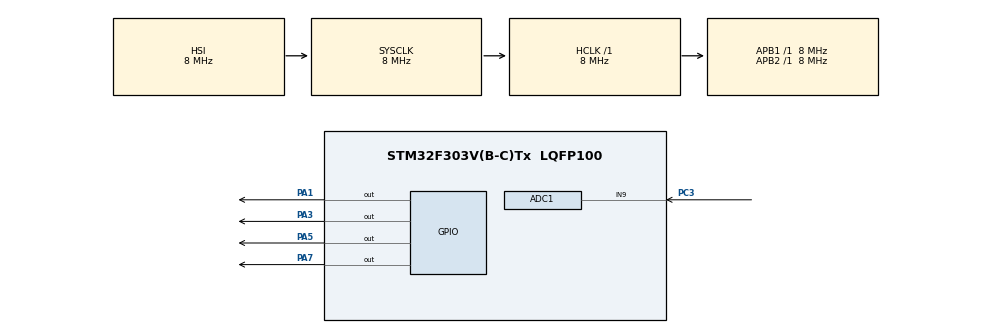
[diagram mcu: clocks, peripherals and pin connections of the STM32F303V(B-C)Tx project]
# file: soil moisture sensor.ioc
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ADC1.Channel-0\#ChannelRegularConversion=ADC_CHANNEL_9
ADC1.ContinuousConvMode=ENABLE
ADC1.NbrOfConversionFlag=1
ADC1.Offset-0\#ChannelRegularConversion=0
ADC1.OffsetNumber-0\#ChannelRegularConversion=ADC_OFFSET_NONE
ADC1.Rank-0\#ChannelRegularConversion=1
ADC1.SamplingTime-0\#ChannelRegularConversion=ADC_SAMPLETIME_1CYCLE_5
ADC1.SamplingTimeOPAMP-0\#ChannelRegularConversion=ADC_SAMPLETIME_4CYCLES_5
ADC1.master=1
Mcu.Family=STM32F3
Mcu.Name=STM32F303V(B-C)Tx
Mcu.Package=LQFP100
NVIC.PriorityGroup=NVIC_PRIORITYGROUP_4
PA1.Signal=GPIO_Output
PA13.Mode=Serial_Wire
PA13.Signal=SYS_JTMS-SWDIO
PA14.Mode=Serial_Wire
PA14.Signal=SYS_JTCK-SWCLK
PA3.Signal=GPIO_Output
PA5.Signal=GPIO_Output
PA7.Signal=GPIO_Output
PC3.Signal=ADCx_IN9
ProjectManager.HeapSize=0x200
ProjectManager.StackSize=0x400
ProjectManager.TargetToolchain=STM32CubeIDE
RCC.AHBFreq_Value=8000000
RCC.APB1Freq_Value=8000000
RCC.APB2Freq_Value=8000000
RCC.CortexFreq_Value=8000000
RCC.HSE_VALUE=8000000
RCC.HSI_VALUE=8000000
RCC.LSE_VALUE=32768
RCC.SYSCLKFreq_VALUE=8000000
SH.ADCx_IN9.0=ADC1_IN9,IN9-Single-Ended
board=custom

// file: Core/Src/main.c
/* USER CODE BEGIN Header */
/**
  ******************************************************************************
  * @file           : main.c
  * @brief          : Main program body
  ******************************************************************************
  * @attention
  *
  * Copyright (c) 2024 STMicroelectronics.
  * All rights reserved.
  *
  * This software is licensed under terms that can be found in the LICENSE file
  * in the root directory of this software component.
  * If no LICENSE file comes with this software, it is provided AS-IS.
  *
  ******************************************************************************
  */
/* USER CODE END Header */
#include "main.h"

ADC_HandleTypeDef hadc1;

/* USER CODE BEGIN PV */

uint16_t readValue;

/* USER CODE END PV */

void SystemClock_Config(void);
static void MX_GPIO_Init(void);
static void MX_ADC1_Init(void);

int main(void)
{

  /* MCU Configuration--------------------------------------------------------*/

  /* Reset of all peripherals, Initializes the Flash interface and the Systick. */
  HAL_Init();

  /* Configure the system clock */
  SystemClock_Config();

  /* Initialize all configured peripherals */
  MX_GPIO_Init();
  MX_ADC1_Init();
  /* USER CODE BEGIN 2 */

  HAL_ADC_Start(&hadc1);

  /* USER CODE END 2 */

  /* Infinite loop */
  /* USER CODE BEGIN WHILE */
  while (1)
  {
	  HAL_GPIO_WritePin(GPIOA, GPIO_PIN_7, 1);
	     HAL_Delay(20);
	     HAL_ADC_PollForConversion(&hadc1,1000);
	     readValue = HAL_ADC_GetValue(&hadc1);
	     HAL_GPIO_WritePin(GPIOA, GPIO_PIN_7, 0);
	     if (readValue > 3200)
	     {
	       HAL_GPIO_WritePin(GPIOA, GPIO_PIN_5, 1);
	       HAL_GPIO_WritePin(GPIOA, GPIO_PIN_3, 0);
	       HAL_GPIO_WritePin(GPIOA, GPIO_PIN_1, 0);
	     }
	     else if (readValue > 2700 )
	     {
	       HAL_GPIO_WritePin(GPIOA, GPIO_PIN_5, 0);
	       HAL_GPIO_WritePin(GPIOA, GPIO_PIN_3, 1);
	       HAL_GPIO_WritePin(GPIOA, GPIO_PIN_1, 0);
	     }
	     else
	     {
	       HAL_GPIO_WritePin(GPIOA, GPIO_PIN_5, 0);
	       HAL_GPIO_WritePin(GPIOA, GPIO_PIN_3, 0);
	       HAL_GPIO_WritePin(GPIOA, GPIO_PIN_1, 1);
	     }
	     HAL_Delay(500);
    /* USER CODE END WHILE */

  }
}

void SystemClock_Config(void)
{
  RCC_OscInitTypeDef RCC_OscInitStruct = {0};
  RCC_ClkInitTypeDef RCC_ClkInitStruct = {0};
  RCC_PeriphCLKInitTypeDef PeriphClkInit = {0};

  /** Initializes the RCC Oscillators according to the specified parameters
  * in the RCC_OscInitTypeDef structure.
  */
  RCC_OscInitStruct.OscillatorType = RCC_OSCILLATORTYPE_HSI;
  RCC_OscInitStruct.HSIState = RCC_HSI_ON;
  RCC_OscInitStruct.HSICalibrationValue = RCC_HSICALIBRATION_DEFAULT;
  RCC_OscInitStruct.PLL.PLLState = RCC_PLL_ON;
  RCC_OscInitStruct.PLL.PLLSource = RCC_PLLSOURCE_HSI;
  RCC_OscInitStruct.PLL.PLLMUL = RCC_PLL_MUL2;
  if (HAL_RCC_OscConfig(&RCC_OscInitStruct) != HAL_OK)
  {
    Error_Handler();
  }

  /** Initializes the CPU, AHB and APB buses clocks
  */
  RCC_ClkInitStruct.ClockType = RCC_CLOCKTYPE_HCLK|RCC_CLOCKTYPE_SYSCLK
                              |RCC_CLOCKTYPE_PCLK1|RCC_CLOCKTYPE_PCLK2;
  RCC_ClkInitStruct.SYSCLKSource = RCC_SYSCLKSOURCE_HSI;
  RCC_ClkInitStruct.AHBCLKDivider = RCC_SYSCLK_DIV1;
  RCC_ClkInitStruct.APB1CLKDivider = RCC_HCLK_DIV1;
  RCC_ClkInitStruct.APB2CLKDivider = RCC_HCLK_DIV1;

  if (HAL_RCC_ClockConfig(&RCC_ClkInitStruct, FLASH_LATENCY_0) != HAL_OK)
  {
    Error_Handler();
  }
  PeriphClkInit.PeriphClockSelection = RCC_PERIPHCLK_ADC12;
  PeriphClkInit.Adc12ClockSelection = RCC_ADC12PLLCLK_DIV1;
  if (HAL_RCCEx_PeriphCLKConfig(&PeriphClkInit) != HAL_OK)
  {
    Error_Handler();
  }
}

static void MX_ADC1_Init(void)
{

  ADC_MultiModeTypeDef multimode = {0};
  ADC_ChannelConfTypeDef sConfig = {0};

  /** Common config
  */
  hadc1.Instance = ADC1;
  hadc1.Init.ClockPrescaler = ADC_CLOCK_ASYNC_DIV1;
  hadc1.Init.Resolution = ADC_RESOLUTION_12B;
  hadc1.Init.ScanConvMode = ADC_SCAN_DISABLE;
  hadc1.Init.ContinuousConvMode = ENABLE;
  hadc1.Init.DiscontinuousConvMode = DISABLE;
  hadc1.Init.ExternalTrigConvEdge = ADC_EXTERNALTRIGCONVEDGE_NONE;
  hadc1.Init.ExternalTrigConv = ADC_SOFTWARE_START;
  hadc1.Init.DataAlign = ADC_DATAALIGN_RIGHT;
  hadc1.Init.NbrOfConversion = 1;
  hadc1.Init.DMAContinuousRequests = DISABLE;
  hadc1.Init.EOCSelection = ADC_EOC_SINGLE_CONV;
  hadc1.Init.LowPowerAutoWait = DISABLE;
  hadc1.Init.Overrun = ADC_OVR_DATA_OVERWRITTEN;
  if (HAL_ADC_Init(&hadc1) != HAL_OK)
  {
    Error_Handler();
  }

  /** Configure the ADC multi-mode
  */
  multimode.Mode = ADC_MODE_INDEPENDENT;
  if (HAL_ADCEx_MultiModeConfigChannel(&hadc1, &multimode) != HAL_OK)
  {
    Error_Handler();
  }

  /** Configure Regular Channel
  */
  sConfig.Channel = ADC_CHANNEL_9;
  sConfig.Rank = ADC_REGULAR_RANK_1;
  sConfig.SingleDiff = ADC_SINGLE_ENDED;
  sConfig.SamplingTime = ADC_SAMPLETIME_1CYCLE_5;
  sConfig.OffsetNumber = ADC_OFFSET_NONE;
  sConfig.Offset = 0;
  if (HAL_ADC_ConfigChannel(&hadc1, &sConfig) != HAL_OK)
  {
    Error_Handler();
  }

}

static void MX_GPIO_Init(void)
{
  GPIO_InitTypeDef GPIO_InitStruct = {0};

  /* GPIO Ports Clock Enable */
  __HAL_RCC_GPIOC_CLK_ENABLE();
  __HAL_RCC_GPIOA_CLK_ENABLE();

  /*Configure GPIO pin Output Level */
  HAL_GPIO_WritePin(GPIOA, GPIO_PIN_1|GPIO_PIN_3|GPIO_PIN_5|GPIO_PIN_7, GPIO_PIN_RESET);

  /*Configure GPIO pins : PA1 PA3 PA5 PA7 */
  GPIO_InitStruct.Pin = GPIO_PIN_1|GPIO_PIN_3|GPIO_PIN_5|GPIO_PIN_7;
  GPIO_InitStruct.Mode = GPIO_MODE_OUTPUT_PP;
  GPIO_InitStruct.Pull = GPIO_NOPULL;
  GPIO_InitStruct.Speed = GPIO_SPEED_FREQ_LOW;
  HAL_GPIO_Init(GPIOA, &GPIO_InitStruct);

}

void Error_Handler(void)
{
  __disable_irq();
  while (1)
  {
  }
}
